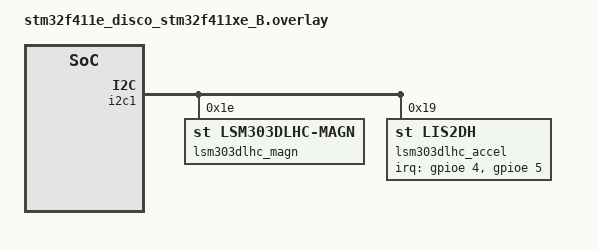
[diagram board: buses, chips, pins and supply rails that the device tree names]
/*
 * Copyright (c) 2021, Linaro Limited
 *
 * SPDX-License-Identifier: Apache-2.0
 */

/ {
	aliases {
		/delete-property/ magn0;
		accel0 = &lsm303dlhc_accel;
		/delete-property/ gyro0;
	};
};

&i2c1 {
	/delete-node/ lsm303agr-magn@1e;
	/delete-node/ lsm303agr-accel@19;

	lsm303dlhc_magn: lsm303dlhc-magn@1e {
		compatible = "st,lsm303dlhc-magn";
		status = "okay";
		reg = <0x1e>;
	};

	lsm303dlhc_accel: lsm303dlhc-accel@19 {
		compatible = "st,lis2dh", "st,lsm303dlhc-accel";
		status = "okay";
		reg = <0x19>;
		irq-gpios = <&gpioe 4 GPIO_ACTIVE_HIGH>,
			  <&gpioe 5 GPIO_ACTIVE_HIGH>;
	};
};

/* The B revision has the l3gd20 instead of i3g4250d, but no test board is available. */
&spi1 {
	/delete-node/ i3g4250d@0;
};
